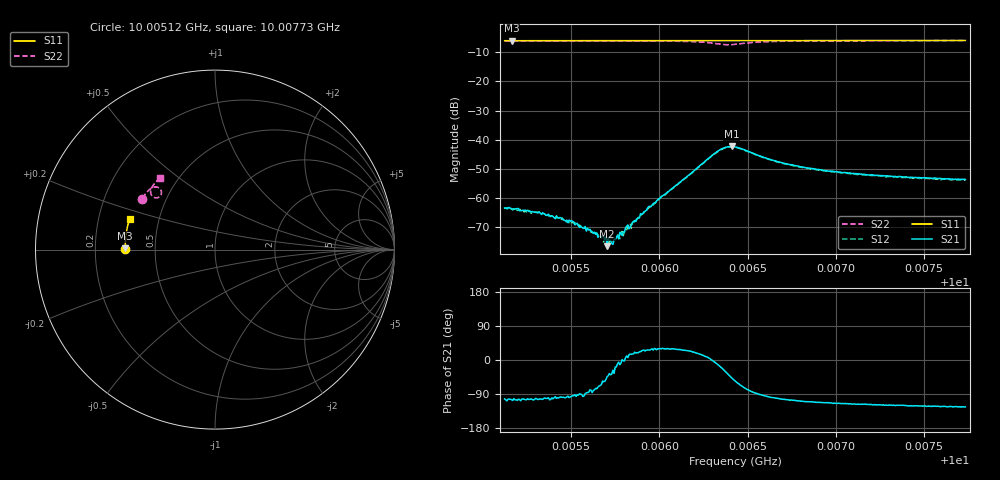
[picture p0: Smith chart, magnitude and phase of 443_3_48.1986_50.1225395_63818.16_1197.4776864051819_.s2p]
#  HZ  S  RI  R  50.00
! Rohde & Schwarz Vector Network Analyzer
! Rohde-Schwarz,ZNB20-2Port,1311601062101988,3.16
! Created: UTC 3/20/2024, 11:55:56 AM
! freq[Hz]  re:S11  im:S11  re:S21  im:S21  re:S12  im:S12  re:S22  im:S22
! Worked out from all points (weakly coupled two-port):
!   401 points, 10.00512 GHz to 10.00773 GHz, reference 50 ohm
!   highest |S21| = -42.28 dB at 10.00641 GHz (marker M1); lowest = -76.5 dB at 10.0057 GHz (marker M2)
!   lowest |S11| = -6.0 dB at 10.00516 GHz (marker M3), VSWR 3.00, Z = 16.7 + j0.345 ohm
!   |S11| at or under -10 dB: nowhere
!   |S22| runs from -7.4 to -6.0 dB; largest |S21 - S12| = 0.00045
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1.0005123e10  -0.5003 0.00522  -0.000149 -0.00066  -0.00015 -0.000654  -0.405 0.2847
1.0005163e10  -0.5002 0.00777  -0.000163 -0.000626  -0.00013 -0.000652  -0.4036 0.287
1.0005306e10  -0.5004 0.0171  -0.000129 -0.000564  -9.22e-05 -0.000552  -0.3979 0.2953
1.000543e10  -0.5003 0.0253  -8.03e-05 -0.000452  -4.54e-05 -0.000458  -0.3927 0.3027
1.0005469e10  -0.5001 0.0278  -6.78e-05 -0.000401  -2.84e-05 -0.000396  -0.3909 0.3051
1.0005502e10  -0.5 0.03  -4.56e-05 -0.000411  -3.53e-05 -0.000372  -0.3896 0.307
1.0005561e10  -0.5 0.0339  -8.58e-06 -0.000316  3.55e-05 -0.000305  -0.3868 0.3105
1.0005639e10  -0.4998 0.0388  6.21e-05 -0.000231  5.85e-05 -0.000249  -0.3832 0.3154
1.0005672e10  -0.4996 0.0409  8.87e-05 -0.000191  0.000105 -0.000174  -0.3815 0.3175
1.0005704e10  -0.4996 0.0431  0.000108 -0.000104  0.000139 -0.00012  -0.3798 0.3194
1.0005743e10  -0.4995 0.0455  0.000157 -0.000112  0.000181 -8.17e-05  -0.3776 0.3219
1.0005789e10  -0.4994 0.0486  0.000228 3.3e-06  0.000269 3.07e-06  -0.375 0.3248
1.0005822e10  -0.4991 0.0506  0.000344 3.74e-05  0.000319 8.72e-05  -0.3731 0.3269
1.0005998e10  -0.4982 0.0621  0.000846 0.000481  0.0008 0.000494  -0.36 0.3385
1.0006324e10  -0.4952 0.0829  0.0061 -0.00101  0.006 -0.000659  -0.3 0.3287
1.000637e10  -0.4946 0.0856  0.00645 -0.00349  0.0065 -0.00309  -0.3004 0.3064
1.0006409e10  -0.4944 0.0879  0.00527 -0.0056  0.00541 -0.00519  -0.3144 0.2914
1.0006428e10  -0.4943 0.0891  0.00433 -0.00617  0.00455 -0.00582  -0.3238 0.2885
1.0006657e10  -0.4924 0.1036  -0.000782 -0.00426  -0.000588 -0.00421  -0.3584 0.3288
1.0006865e10  -0.49 0.117  -0.00109 -0.003  -0.000996 -0.00299  -0.3493 0.3512
1.0007303e10  -0.4836 0.1446  -0.00114 -0.0021  -0.00104 -0.00211  -0.3269 0.3791
1.0007733e10  -0.4757 0.1712  -0.00115 -0.00175  -0.00105 -0.00172  -0.305 0.4001
